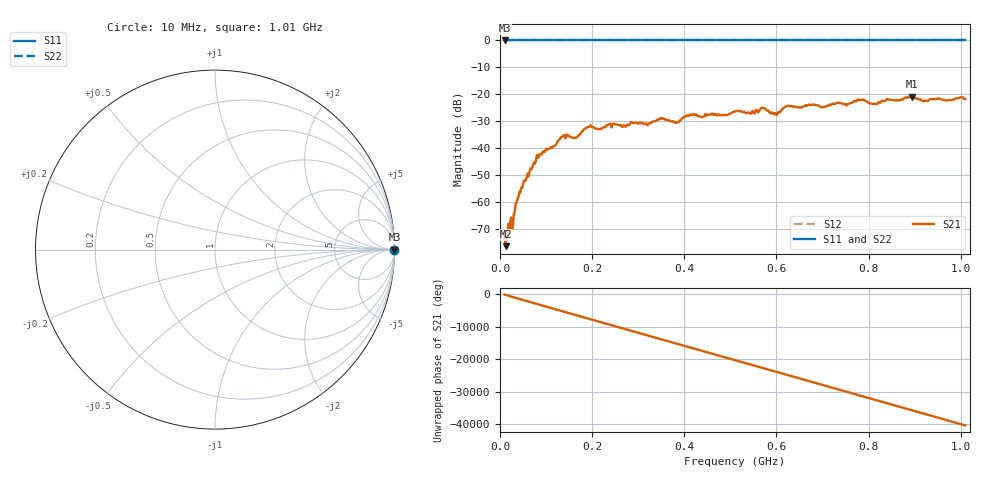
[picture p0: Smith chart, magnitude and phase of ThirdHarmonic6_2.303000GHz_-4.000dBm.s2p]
! 8/17/2025 3:08:24 AM
! C:\ANRITSUVNA\TEMP\TEMP.S2P
! CHANNEL.1
! TR.MEASUREMENT
! RAW.DATA
! RF.CORRECTION.OFF
! AVERAGING.OFF
! IF.BANDWIDTH: 5KHZ
! SWEEPTYPE:  FREQ.SWEEP(Linear)
! Reference Plane Port Info
! PORT:  PORT1  PORT2
! DISTANCE:  0  m  0  m
! TIME:  0  s  0  s
! PHASE.OFFSET:  0  deg.  0  deg.
! LOSS:  0  dB  0  dB
! REF.LOSS:  0  dB  0  dB
! REF.FREQ:  0  Hz  0  Hz
! Power Info
! POWER:  -20  dBm  -20  dBm
! EFF.POWER:  -20  dBm  -20  dBm
! SOURCE.ATTEN:  0  dB  0  dB
! TEST.ATTEN:  0  dB  0  dB
# GHZ S RI R 50.0
! FREQ.GHZ  S11RE  S11IM  S21RE  S21IM  S12RE  S12IM  S22RE  S22IM
!; PortSelection: Port_12
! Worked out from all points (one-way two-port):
!   501 points, 10 MHz to 1.01 GHz, reference 50 ohm
!   highest |S21| = -20.83 dB at 894 MHz (marker M1); lowest = -76.3 dB at 12 MHz (marker M2)
!   lowest |S11| = 0.0 dB at 10 MHz (marker M3)
!   |S11| at or under -10 dB: nowhere
!   |S22| runs from 0.0 to 0.0 dB; largest |S21 - S12| = 1.1
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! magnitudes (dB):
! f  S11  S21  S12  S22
! 10 MHz  0.0  -71.5  0.0  0.0
! 12 MHz  0.0  -76.3  0.0  0.0
! 24 MHz  0.0  -65.7  0.0  0.0
! 38 MHz  0.0  -58.9  0.0  0.0
! 50 MHz  0.0  -53.4  0.0  0.0
! 84 MHz  0.0  -43.3  0.0  0.0
! 136 MHz  0.0  -35.6  0.0  0.0
! 162 MHz  0.0  -36.3  0.0  0.0
! 178 MHz  0.0  -33.7  0.0  0.0
! 194 MHz  0.0  -32.1  0.0  0.0
! 216 MHz  0.0  -32.9  0.0  0.0
! 344 MHz  0.0  -29.4  0.0  0.0
! 384 MHz  0.0  -30.4  0.0  0.0
! 416 MHz  0.0  -27.7  0.0  0.0
! 510 MHz  0.0  -26.4  0.0  0.0
! 570 MHz  0.0  -24.9  0.0  0.0
! 598 MHz  0.0  -27.1  0.0  0.0
! 622 MHz  0.0  -24.4  0.0  0.0
! 678 MHz  0.0  -23.8  0.0  0.0
! 844 MHz  0.0  -21.9  0.0  0.0
! 894 MHz  0.0  -20.8  0.0  0.0
! 1.01 GHz  0.0  -21.7  0.0  0.0
